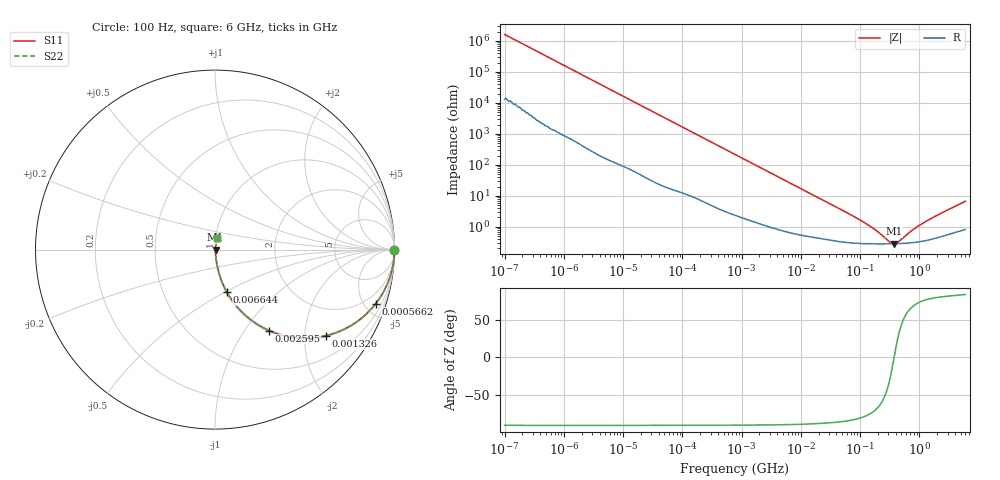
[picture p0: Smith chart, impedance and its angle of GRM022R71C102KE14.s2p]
!Murata Part Number: GRM022R71C102KE14
!These Parameters are Measured in Series Mode Connection
!Data Generated on Mar 30, 2021
!  o--ll--o
!Port1  Port2
!  o------o
!Operation Temp=25[degC], DC Bias Voltage=0[V]
!Freq. Start=100[Hz] Stop=6[GHz] 401[Steps]
# Hz S RI R 50
!Freq.(Hz) S11(Real) S11(Imag) S21(Real) S21(Imag) S12(Real) S12(Imag) S22(Real) S22(Imag)
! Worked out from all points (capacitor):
!   401 points, 100 Hz to 6 GHz, reference 50 ohm
!   read as one part in series: C = 980 pF near 109 Hz
!   lowest |Z| = 284 mohm at 373.7 MHz (marker M1)
!   series resonance near 375.4 MHz, so ESL is about 180 pH
!   S11 on the Smith chart (normalised r, x): 100 Hz: open; 566.2 kHz: 1.06, -5.92; 1.326 MHz: 1.03, -2.54; 2.595 MHz: 1.02, -1.31; 6.644 MHz: 1.01, -0.51; 6 GHz: 1.02, +0.13
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100  1 -6.17e-05  5e-07 6.17e-05  5e-07 6.17e-05  1 -6.17e-05
150  1 -9.21e-05  8e-07 9.21e-05  8e-07 9.21e-05  1 -9.21e-05
179  1 -0.00011  9e-07 0.00011  9e-07 0.00011  1 -0.00011
2008  1 -0.00122  7.8e-06 0.00122  7.8e-06 0.00122  1 -0.00122
40335  0.9993 -0.0243  0.000732 0.0243  0.000732 0.0243  0.9993 -0.0243
184852  0.9869 -0.1093  0.0131 0.1093  0.0131 0.1093  0.9869 -0.1093
566185  0.8953 -0.3013  0.1047 0.3013  0.1047 0.3013  0.8953 -0.3013
774597  0.8219 -0.3772  0.1781 0.3772  0.1781 0.3772  0.8219 -0.3772
1325623  0.6163 -0.4799  0.3837 0.4799  0.3837 0.4799  0.6163 -0.4799
1813585  0.465 -0.4917  0.535 0.4917  0.535 0.4917  0.465 -0.4917
2594782  0.3017 -0.4509  0.6983 0.4509  0.6983 0.4509  0.3017 -0.4509
4060267  0.1539 -0.3512  0.8461 0.3512  0.8461 0.3512  0.1539 -0.3512
6644369  0.0671 -0.238  0.9329 0.238  0.9329 0.238  0.0671 -0.238
1.555665e7  0.0165 -0.1081  0.9835 0.1081  0.9835 0.1081  0.0165 -0.1081
1.166697e8  0.00304 -0.0135  0.997 0.0135  0.997 0.0135  0.00304 -0.0135
1.909225e8  0.00284 -0.0068  0.9972 0.0068  0.9972 0.0068  0.00284 -0.0068
3.124326e8  0.00281 -0.00172  0.9972 0.00172  0.9972 0.00172  0.00281 -0.00172
3.737127e8  0.00283 -4.06e-05  0.9972 4.06e-05  0.9972 4.06e-05  0.00283 -4.06e-05
4.470121e8  0.00286 0.00164  0.9971 -0.00164  0.9971 -0.00164  0.00286 0.00164
7.650043e8  0.00312 0.00716  0.9969 -0.00716  0.9969 -0.00716  0.00312 0.00716
1.251881e9  0.00372 0.0139  0.9963 -0.0139  0.9963 -0.0139  0.00372 0.0139
6e9  0.0124 0.0651  0.9876 -0.0651  0.9876 -0.0651  0.0124 0.0651
